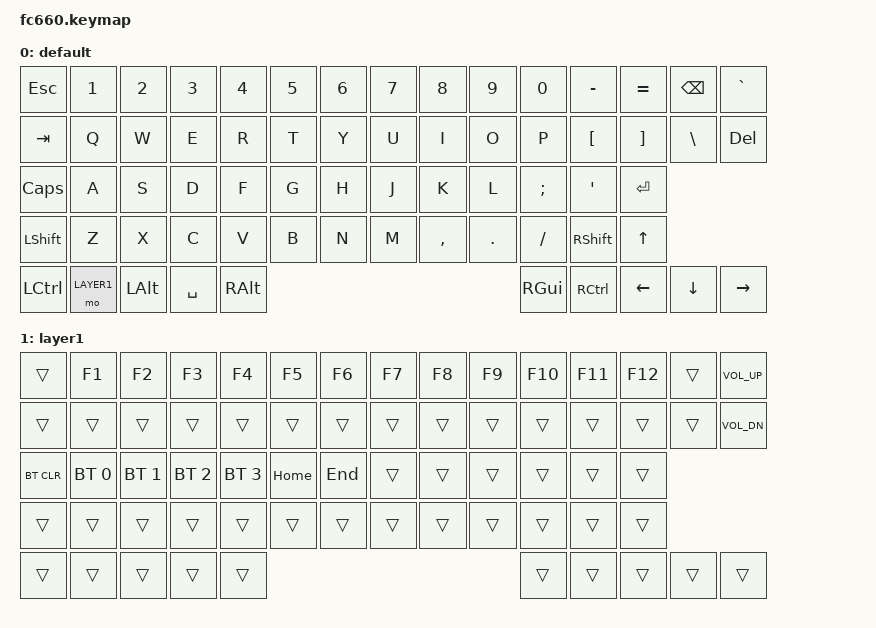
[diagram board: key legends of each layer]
#include <behaviors.dtsi>
#include <dt-bindings/zmk/keys.h>
#include <dt-bindings/zmk/bt.h>

#define BASE 0
#define LAYER1 1

/ {
	keymap {
		compatible = "zmk,keymap";

		default_layer {
			display-name = "default";
			bindings = <
	&kp ESC   &kp N1 &kp N2 &kp N3 &kp N4 &kp N5 &kp N6 &kp N7 &kp N8    &kp N9  &kp N0   &kp MINUS &kp EQUAL &kp BSPC  &kp GRAVE
	&kp TAB   &kp Q  &kp W  &kp E  &kp R  &kp T  &kp Y  &kp U  &kp I     &kp O   &kp P    &kp LBKT  &kp RBKT  &kp BSLH  &kp DEL
	&kp CAPS  &kp A  &kp S  &kp D  &kp F  &kp G  &kp H  &kp J  &kp K     &kp L   &kp SEMI &kp SQT   &kp RET
	&kp LSHFT &kp Z  &kp X  &kp C  &kp V  &kp B  &kp N  &kp M  &kp COMMA &kp DOT &kp FSLH &kp RSHFT &kp UP
	&kp LCTRL &mo LAYER1  &kp LALT        &kp SPACE                      &kp RALT &kp RGUI  &kp RCTRL &kp LEFT  &kp DOWN  &kp RIGHT
			>;
		};
		layer_1 {
			display-name = "layer1";
			bindings = <
	&trans     &kp F1       &kp F2       &kp F3        &kp F4        &kp F5       &kp F6   &kp F7  &kp F8 &kp F9 &kp F10 &kp F11 &kp F12 &trans  &kp C_VOL_UP
	&trans     &trans       &trans       &trans        &trans        &trans       &trans   &trans  &trans &trans &trans  &trans  &trans  &trans  &kp C_VOL_DN
	&bt BT_CLR &bt BT_SEL 0 &bt BT_SEL 1 &bt BT_SEL 2  &bt BT_SEL 3  &kp HOME     &kp END   &trans  &trans &trans &trans  &trans  &trans
	&trans     &trans       &trans       &trans        &trans        &trans       &trans   &trans  &trans &trans &trans  &trans  &trans
	&trans     &trans       &trans                                   &trans                               &trans &trans  &trans  &trans  &trans  &trans
			>;
		};
	};
};
